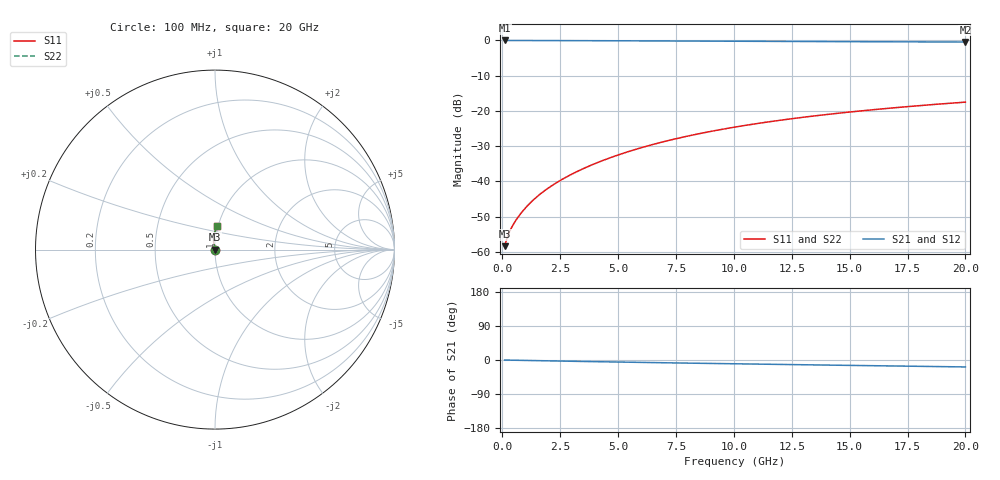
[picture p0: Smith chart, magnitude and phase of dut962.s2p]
! Touchstone file exported from HFSS 2024.1.0
!  File:  C:/UserFiles/LocalFiles/RDL_TSV_Batchsim/temp_RDL_bottom_962_1779942661.aedt
!  Generated:  12:33:14 PM May 28, 2026
!  Design:  RDL_bottom
!  Project:  temp_RDL_bottom_962_1779942661
!  Setup:  Setup1
!  Solution:  Sweep
! Variables:
!  dtsv = 10.80580581um
!  hbump = 3um
!  htsv = 55.25um
!  ldown = 293.72um
!  lrdl = 100um
!  p = 40
!  p1 = 43.38um
!  rhole = 1um
!  t = 450um
!  tdown = 4.22um
!  trdl = 3.915915916um
!  wdown = 29.28um
!  wrdl = 20um
# GHz S MA R 50.000000
! Terminal data exported
! Port[1] = RDL1_T1
! Port[2] = RDL1_T2
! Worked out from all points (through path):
!   200 points, 100 MHz to 20 GHz, reference 50 ohm
!   highest |S21| = -0.01 dB at 100 MHz (marker M1); lowest = -0.5 dB at 20 GHz (marker M2)
!   group delay of S21, straight-line fit = 2.49 ps
!   lowest |S11| = -58.4 dB at 100 MHz (marker M3), VSWR 1.00, Z = 50.1 + j0.0542 ohm
!   |S11| at or under -10 dB: start of sweep to end of sweep
!   |S22| runs from -58.4 to -17.5 dB; largest |S21 - S12| = 4.1e-15
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0.1  0.001206 26.6  0.9989 -0.1  0.9989 -0.1  0.001206 26.6
! Gamma 0 0 0 0
! Port Impedance 50 0 50 0
0.2  0.00155 40.5  0.9988 -0.2  0.9988 -0.2  0.00155 40.5
0.3  0.001892 48.2  0.9987 -0.4  0.9987 -0.4  0.001892 48.2
0.4  0.002214 53.7  0.9986 -0.5  0.9986 -0.5  0.002214 53.7
0.5  0.00253 58.3  0.9985 -0.6  0.9985 -0.6  0.00253 58.3
0.8  0.003509 68.6  0.9982 -0.9  0.9982 -0.9  0.00351 68.6
1  0.004204 73.5  0.998 -1.1  0.998 -1.1  0.004204 73.5
1.2  0.004931 77.4  0.9977 -1.4  0.9977 -1.4  0.004931 77.4
1.7  0.006868 84.4  0.997 -1.9  0.997 -1.9  0.006868 84.4
2.2  0.008968 89.1  0.996 -2.5  0.996 -2.5  0.008968 89.1
2.8  0.0117 93.0  0.9946 -3.1  0.9946 -3.1  0.0117 93.0
3.5  0.01519 96.1  0.9927 -3.9  0.9927 -3.9  0.01519 96.1
4.2  0.019 98.1  0.9906 -4.6  0.9906 -4.6  0.019 98.1
5  0.02371 99.5  0.988 -5.4  0.988 -5.4  0.02371 99.5
5.9  0.02941 100.1  0.985 -6.3  0.985 -6.3  0.02941 100.1
6.8  0.03545 100.1  0.982 -7.1  0.982 -7.1  0.03545 100.1
8.4  0.04681 99.1  0.9769 -8.6  0.9769 -8.6  0.04681 99.1
10.1  0.0594 97.2  0.9719 -10.1  0.9719 -10.1  0.0594 97.2
11.7  0.07147 95.1  0.9676 -11.5  0.9676 -11.5  0.07147 95.1
13.4  0.08436 92.8  0.9634 -12.9  0.9634 -12.9  0.08436 92.8
16.7  0.1091 88.4  0.956 -15.6  0.956 -15.6  0.1091 88.4
20  0.1333 84.2  0.9493 -18.3  0.9493 -18.3  0.1333 84.2
